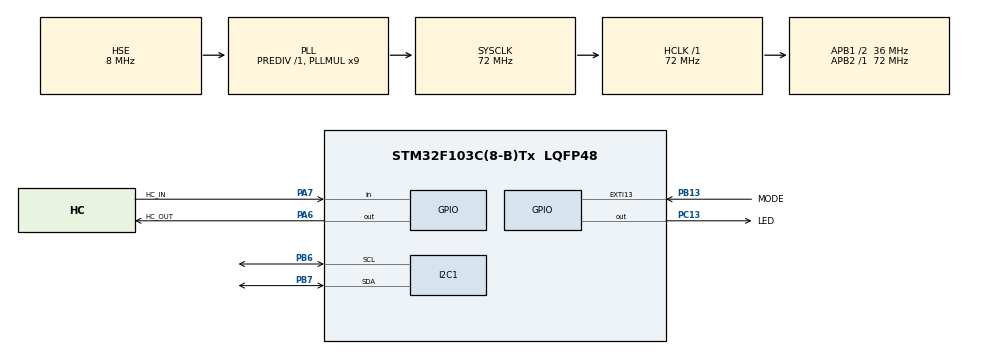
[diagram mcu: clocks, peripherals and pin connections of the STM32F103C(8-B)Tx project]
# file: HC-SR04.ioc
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Mcu.Family=STM32F1
Mcu.Name=STM32F103C(8-B)Tx
Mcu.Package=LQFP48
NVIC.EXTI15_10_IRQn=true\:0\:0\:false\:false\:true\:true\:true
NVIC.PriorityGroup=NVIC_PRIORITYGROUP_4
PA6.GPIO_Label=HC_OUT
PA6.PinState=GPIO_PIN_RESET
PA6.Signal=GPIO_Output
PA7.GPIO_Label=HC_IN
PA7.Signal=GPIO_Input
PB13.GPIO_Label=MODE
PB13.Signal=GPXTI13
PB6.Mode=I2C
PB6.Signal=I2C1_SCL
PB7.Mode=I2C
PB7.Signal=I2C1_SDA
PC13-TAMPER-RTC.GPIO_Label=LED
PC13-TAMPER-RTC.PinState=GPIO_PIN_RESET
PC13-TAMPER-RTC.Signal=GPIO_Output
PD0-OSC_IN.Mode=HSE-External-Oscillator
PD0-OSC_IN.Signal=RCC_OSC_IN
PD1-OSC_OUT.Mode=HSE-External-Oscillator
PD1-OSC_OUT.Signal=RCC_OSC_OUT
ProjectManager.HeapSize=0x200
ProjectManager.StackSize=0x400
ProjectManager.TargetToolchain=MDK-ARM V5.27
RCC.AHBFreq_Value=72000000
RCC.APB1CLKDivider=RCC_HCLK_DIV2
RCC.APB1Freq_Value=36000000
RCC.APB1TimFreq_Value=72000000
RCC.APB2Freq_Value=72000000
RCC.APB2TimFreq_Value=72000000
RCC.HCLKFreq_Value=72000000
RCC.PLLMUL=RCC_PLL_MUL9
RCC.PLLSourceVirtual=RCC_PLLSOURCE_HSE
RCC.SYSCLKFreq_VALUE=72000000
RCC.SYSCLKSource=RCC_SYSCLKSOURCE_PLLCLK
RCC.USBFreq_Value=72000000
VP_SYS_VS_ND.Mode=No_Debug
board=custom

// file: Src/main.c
/* USER CODE BEGIN Header */
/**
  ******************************************************************************
  * @file           : main.c
  * @brief          : Main program body
  ******************************************************************************
  * @attention
  *
  * <h2><center>&copy; Copyright (c) 2019 STMicroelectronics.
  * All rights reserved.</center></h2>
  *
  * This software component is licensed by ST under BSD 3-Clause license,
  * the "License"; You may not use this file except in compliance with the
  * License. You may obtain a copy of the License at:
  *                        opensource.org/licenses/BSD-3-Clause
  *
  ******************************************************************************
  */
/* USER CODE END Header */

#include "main.h"

/* USER CODE BEGIN Includes */
#include "ssd1306.h"
#include "ssd1306_tests.h"
#include "dwt_delay.h"
/* USER CODE END Includes */

I2C_HandleTypeDef hi2c1;

void SystemClock_Config(void);
static void MX_GPIO_Init(void);
static void MX_I2C1_Init(void);

/* USER CODE BEGIN 0 */
	uint32_t sensor_time,time=1,mode=0,tick=0;
	float distance;
	int alarm[3] = {20,50,100};
	uint8_t s[100];
void Init(void){
		//开机自检
		int i ;
		ssd1306_Fill(Black);

		ssd1306_SetCursor(32, 0);
		ssd1306_WriteString("Welcome", Font_7x10, White);

		ssd1306_SetCursor(2, 24);
		ssd1306_WriteString("Parking Distance Control", Font_7x10, White);

		ssd1306_SetCursor(70, 48);
		ssd1306_WriteString("Littleor", Font_7x10, White);

		ssd1306_UpdateScreen();
		for(i = 0;i<3;i++){
			HAL_GPIO_TogglePin(LED_GPIO_Port, LED_Pin);
			HAL_Delay(100);
			HAL_GPIO_TogglePin(LED_GPIO_Port, LED_Pin);
			HAL_Delay(500);
		}
}
uint32_t hcsr04_read (void)
{
	uint32_t local_time=0;

	HAL_GPIO_WritePin(HC_OUT_GPIO_Port, HC_OUT_Pin, GPIO_PIN_SET);  // pull the TRIG pin HIGH
	DWT_Delay(10);  // wait for 10 us
	HAL_GPIO_WritePin(HC_OUT_GPIO_Port, HC_OUT_Pin, GPIO_PIN_RESET);  // pull the TRIG pin low

	while (!(HAL_GPIO_ReadPin(HC_IN_GPIO_Port, HC_IN_Pin)));  // wait for the ECHO pin to go high
	while (HAL_GPIO_ReadPin(HC_IN_GPIO_Port, HC_IN_Pin))    // while the pin is high
	 {
		local_time++;   // measure time for which the pin is high
		DWT_Delay (1);
	 }
	return local_time;
}
void ReadDistance(void){
		sensor_time = hcsr04_read();
		distance = (float)sensor_time * .034/2;
}
void PrintDistance(void){
		ssd1306_Fill(Black);

		ssd1306_SetCursor(2, 0);
		sprintf(s, "Time: %d", time++);
		ssd1306_WriteString(s, Font_7x10, White);
//	Font_11x18
		if(distance <= alarm[mode]){
			sprintf(s, " %.2fcm", (float)sensor_time * .034/2);
			ssd1306_SetCursor(20, 16);
			ssd1306_WriteString(s, Font_11x18, White);
			ssd1306_SetCursor(2, 48);
		}
		else{
			sprintf(s, "Distance: %.2fcm", (float)sensor_time * .034/2);
			ssd1306_SetCursor(2, 16);
			ssd1306_WriteString(s, Font_7x10, White);
			ssd1306_SetCursor(2, 32);
		}

		sprintf(s, "Mode: %d", mode);

		ssd1306_WriteString(s, Font_7x10, White);

		ssd1306_UpdateScreen();
}
void Alarm(){
	if(distance <= alarm[mode]){
			HAL_GPIO_TogglePin(LED_GPIO_Port, LED_Pin);
			HAL_Delay(100);
			HAL_GPIO_TogglePin(LED_GPIO_Port, LED_Pin);
			HAL_Delay(distance*50);
	}
	else{
	  HAL_GPIO_WritePin(LED_GPIO_Port, LED_Pin, GPIO_PIN_SET);
	}
}

/* USER CODE END 0 */

int main(void)
{

  /* MCU Configuration--------------------------------------------------------*/

  /* Reset of all peripherals, Initializes the Flash interface and the Systick. */
  HAL_Init();

  /* Configure the system clock */
  SystemClock_Config();

  /* Initialize all configured peripherals */
  MX_GPIO_Init();
  MX_I2C1_Init();
  /* USER CODE BEGIN 2 */
	DWT_Init();
	ssd1306_Init();
	Init();

  /* USER CODE END 2 */

  /* Infinite loop */
  /* USER CODE BEGIN WHILE */
  while (1)
  {
		ReadDistance();//获取当前距离
		PrintDistance();//使用OLED显示当前距离
		Alarm();//判断是否警告

    /* USER CODE END WHILE */

  }
}

void SystemClock_Config(void)
{
  RCC_OscInitTypeDef RCC_OscInitStruct = {0};
  RCC_ClkInitTypeDef RCC_ClkInitStruct = {0};

  /** Initializes the CPU, AHB and APB busses clocks
  */
  RCC_OscInitStruct.OscillatorType = RCC_OSCILLATORTYPE_HSE;
  RCC_OscInitStruct.HSEState = RCC_HSE_ON;
  RCC_OscInitStruct.HSEPredivValue = RCC_HSE_PREDIV_DIV1;
  RCC_OscInitStruct.HSIState = RCC_HSI_ON;
  RCC_OscInitStruct.PLL.PLLState = RCC_PLL_ON;
  RCC_OscInitStruct.PLL.PLLSource = RCC_PLLSOURCE_HSE;
  RCC_OscInitStruct.PLL.PLLMUL = RCC_PLL_MUL9;
  if (HAL_RCC_OscConfig(&RCC_OscInitStruct) != HAL_OK)
  {
    Error_Handler();
  }
  /** Initializes the CPU, AHB and APB busses clocks
  */
  RCC_ClkInitStruct.ClockType = RCC_CLOCKTYPE_HCLK|RCC_CLOCKTYPE_SYSCLK
                              |RCC_CLOCKTYPE_PCLK1|RCC_CLOCKTYPE_PCLK2;
  RCC_ClkInitStruct.SYSCLKSource = RCC_SYSCLKSOURCE_PLLCLK;
  RCC_ClkInitStruct.AHBCLKDivider = RCC_SYSCLK_DIV1;
  RCC_ClkInitStruct.APB1CLKDivider = RCC_HCLK_DIV2;
  RCC_ClkInitStruct.APB2CLKDivider = RCC_HCLK_DIV1;

  if (HAL_RCC_ClockConfig(&RCC_ClkInitStruct, FLASH_LATENCY_2) != HAL_OK)
  {
    Error_Handler();
  }
}

static void MX_I2C1_Init(void)
{

  hi2c1.Instance = I2C1;
  hi2c1.Init.ClockSpeed = 100000;
  hi2c1.Init.DutyCycle = I2C_DUTYCYCLE_2;
  hi2c1.Init.OwnAddress1 = 0;
  hi2c1.Init.AddressingMode = I2C_ADDRESSINGMODE_7BIT;
  hi2c1.Init.DualAddressMode = I2C_DUALADDRESS_DISABLE;
  hi2c1.Init.OwnAddress2 = 0;
  hi2c1.Init.GeneralCallMode = I2C_GENERALCALL_DISABLE;
  hi2c1.Init.NoStretchMode = I2C_NOSTRETCH_DISABLE;
  if (HAL_I2C_Init(&hi2c1) != HAL_OK)
  {
    Error_Handler();
  }

}

static void MX_GPIO_Init(void)
{
  GPIO_InitTypeDef GPIO_InitStruct = {0};

  /* GPIO Ports Clock Enable */
  __HAL_RCC_GPIOC_CLK_ENABLE();
  __HAL_RCC_GPIOD_CLK_ENABLE();
  __HAL_RCC_GPIOA_CLK_ENABLE();
  __HAL_RCC_GPIOB_CLK_ENABLE();

  /*Configure GPIO pin Output Level */
  HAL_GPIO_WritePin(LED_GPIO_Port, LED_Pin, GPIO_PIN_RESET);

  /*Configure GPIO pin Output Level */
  HAL_GPIO_WritePin(HC_OUT_GPIO_Port, HC_OUT_Pin, GPIO_PIN_RESET);

  /*Configure GPIO pin : LED_Pin */
  GPIO_InitStruct.Pin = LED_Pin;
  GPIO_InitStruct.Mode = GPIO_MODE_OUTPUT_PP;
  GPIO_InitStruct.Pull = GPIO_NOPULL;
  GPIO_InitStruct.Speed = GPIO_SPEED_FREQ_LOW;
  HAL_GPIO_Init(LED_GPIO_Port, &GPIO_InitStruct);

  /*Configure GPIO pin : HC_OUT_Pin */
  GPIO_InitStruct.Pin = HC_OUT_Pin;
  GPIO_InitStruct.Mode = GPIO_MODE_OUTPUT_PP;
  GPIO_InitStruct.Pull = GPIO_NOPULL;
  GPIO_InitStruct.Speed = GPIO_SPEED_FREQ_LOW;
  HAL_GPIO_Init(HC_OUT_GPIO_Port, &GPIO_InitStruct);

  /*Configure GPIO pin : HC_IN_Pin */
  GPIO_InitStruct.Pin = HC_IN_Pin;
  GPIO_InitStruct.Mode = GPIO_MODE_INPUT;
  GPIO_InitStruct.Pull = GPIO_NOPULL;
  HAL_GPIO_Init(HC_IN_GPIO_Port, &GPIO_InitStruct);

  /*Configure GPIO pin : MODE_Pin */
  GPIO_InitStruct.Pin = MODE_Pin;
  GPIO_InitStruct.Mode = GPIO_MODE_IT_RISING;
  GPIO_InitStruct.Pull = GPIO_NOPULL;
  HAL_GPIO_Init(MODE_GPIO_Port, &GPIO_InitStruct);

  /* EXTI interrupt init*/
  HAL_NVIC_SetPriority(EXTI15_10_IRQn, 0, 0);
  HAL_NVIC_EnableIRQ(EXTI15_10_IRQn);

}

/* USER CODE BEGIN 4 */
void HAL_GPIO_EXTI_Callback(uint16_t GPIO_Pin)
{

  if(GPIO_Pin == GPIO_PIN_13)
	{
		if(HAL_GetTick() - tick >= 100){
		mode = (mode<2)?(mode+1):0;
		PrintDistance();
			tick = HAL_GetTick();
			}
	}

}
/* USER CODE END 4 */

void Error_Handler(void)
{
}

/************************ (C) COPYRIGHT STMicroelectronics *****END OF FILE****/
